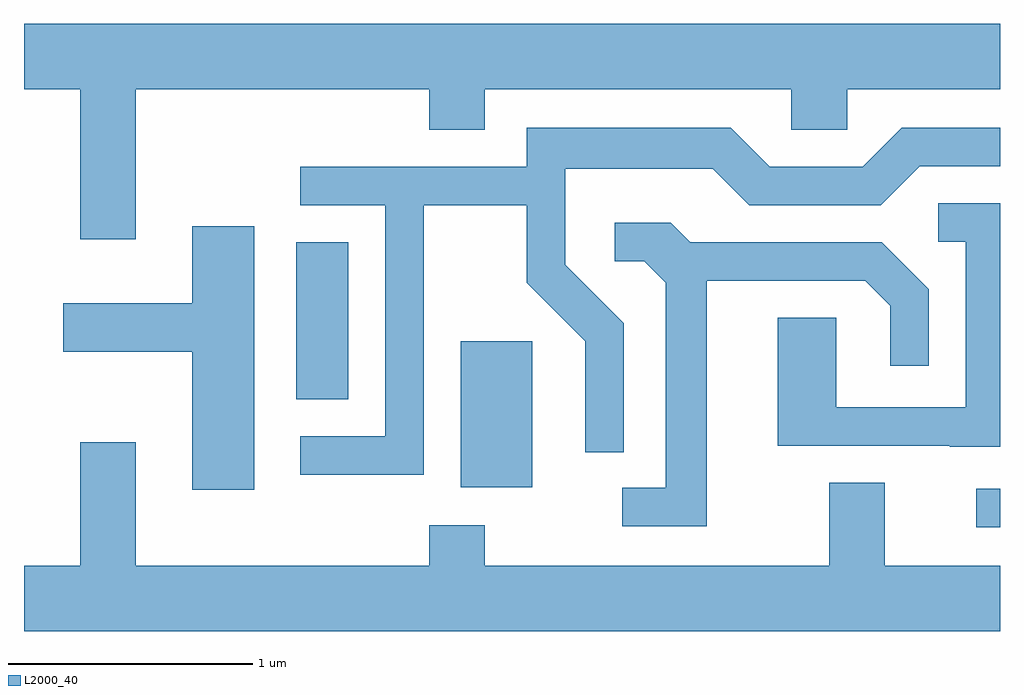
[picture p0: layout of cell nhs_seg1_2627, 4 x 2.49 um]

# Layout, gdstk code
import gdstk
lib = gdstk.Library(unit=1e-6, precision=1e-09)
def R(c, l, rs):  # rectangles x0, y0, x1, y1
    for r in rs: c.add(gdstk.rectangle(r[:2], r[2:], *l))
def P(c, l, *ps):  # polygons
    for p in ps: c.add(gdstk.Polygon(p, *l))
L2000_40 = (2000, 40)

nhs_seg1_2627 = lib.new_cell('nhs_seg1_2627')
R(nhs_seg1_2627, L2000_40, [(269.513,864.481,269.611,864.639), (267.401,864.646,267.694,865.244), (266.726,865.006,266.939,865.649)])
P(nhs_seg1_2627, L2000_40, [(266.069,866.276),(267.271,866.276),(267.271,866.111),(267.499,866.111),(267.499,866.276),(268.756,866.276),(268.756,866.111),(268.984,866.111),(268.984,866.276),(269.611,866.276),(269.611,866.544),(265.611,866.544),(265.611,866.276),(265.841,866.276),(265.841,865.661),(266.069,865.661)],
  [(267.249,865.801),(267.671,865.801),(267.671,865.484),(267.911,865.244),(267.911,864.788),(268.069,864.788),(268.069,865.317),(267.829,865.557),(267.829,865.951),(268.434,865.951),(268.584,865.801),(269.122,865.801),(269.282,865.961),(269.611,865.961),(269.611,866.119),(269.209,866.119),(269.049,865.959),(268.667,865.959),(268.507,866.119),(267.671,866.119),(267.671,865.959),(266.743,865.959),(266.743,865.801),(267.091,865.801),(267.091,864.854),(266.743,864.854),(266.743,864.696),(267.249,864.696)],
  [(269.611,865.809),(269.358,865.809),(269.358,865.651),(269.471,865.651),(269.471,864.974),(268.939,864.974),(268.939,865.339),(268.701,865.339),(268.701,864.816),(269.405,864.816),(269.405,864.811),(269.611,864.811)],
  [(268.409,865.491),(269.059,865.491),(269.161,865.389),(269.161,865.143),(269.319,865.143),(269.319,865.457),(269.127,865.649),(268.342,865.649),(268.262,865.729),(268.033,865.729),(268.033,865.571),(268.154,865.571),(268.241,865.484),(268.241,864.644),(268.063,864.644),(268.063,864.486),(268.409,864.486)],
  [(266.554,865.714),(266.301,865.714),(266.301,865.399),(265.771,865.399),(265.771,865.201),(266.301,865.201),(266.301,864.636),(266.554,864.636)],
  [(269.611,864.324),(269.139,864.324),(269.139,864.664),(268.911,864.664),(268.911,864.324),(267.499,864.324),(267.499,864.489),(267.271,864.489),(267.271,864.324),(266.069,864.324),(266.069,864.829),(265.841,864.829),(265.841,864.324),(265.611,864.324),(265.611,864.056),(269.611,864.056)])

lib.write_gds('nhs_seg1_2627.gds')
